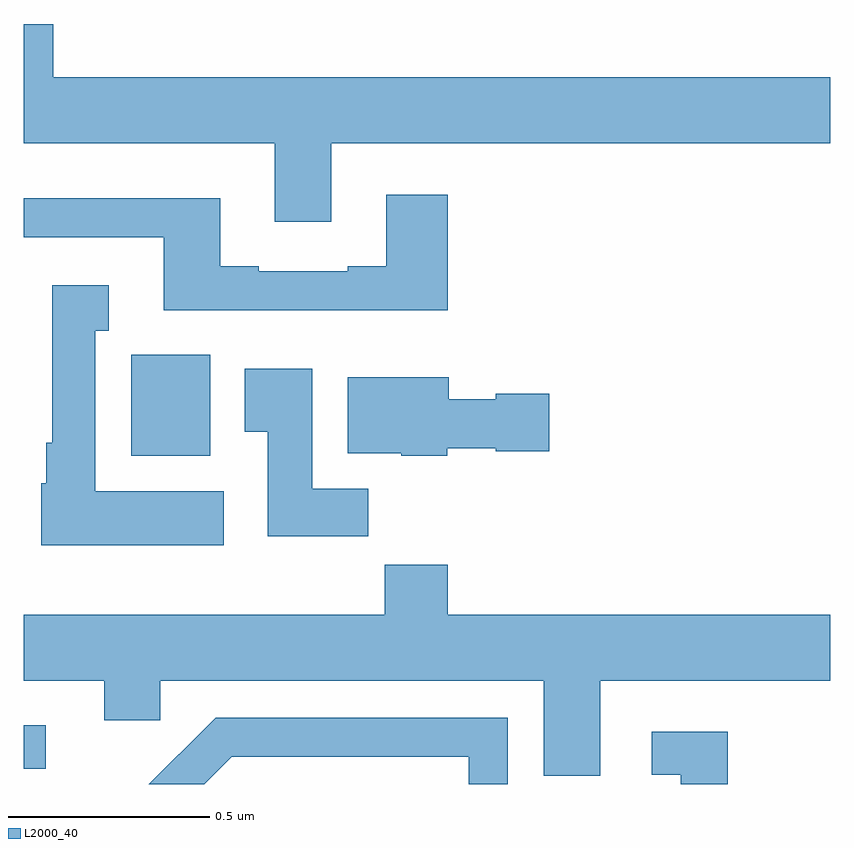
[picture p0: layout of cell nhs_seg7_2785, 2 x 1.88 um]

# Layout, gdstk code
import gdstk
lib = gdstk.Library(unit=1e-6, precision=1e-09)
def R(c, l, rs):  # rectangles x0, y0, x1, y1
    for r in rs: c.add(gdstk.rectangle(r[:2], r[2:], *l))
def P(c, l, *ps):  # polygons
    for p in ps: c.add(gdstk.Polygon(p, *l))
L2000_40 = (2000, 40)

nhs_seg7_2785 = lib.new_cell('nhs_seg7_2785')
R(nhs_seg7_2785, L2000_40, [(150,1027.038,150.055,1027.146), (150.267,1027.814,150.463,1028.064)])
P(nhs_seg7_2785, L2000_40, [(150.763,1028.588),(152,1028.588),(152,1028.752),(150.074,1028.752),(150.074,1028.884),(150,1028.884),(150,1028.588),(150.623,1028.588),(150.623,1028.394),(150.763,1028.394)],
  [(151.052,1028.461),(150.899,1028.461),(150.899,1028.284),(150.803,1028.284),(150.803,1028.271),(150.583,1028.271),(150.583,1028.284),(150.487,1028.284),(150.487,1028.452),(150,1028.452),(150,1028.355),(150.347,1028.355),(150.347,1028.174),(151.052,1028.174)],
  [(150.496,1027.726),(150.178,1027.726),(150.178,1028.123),(150.211,1028.123),(150.211,1028.236),(150.071,1028.236),(150.071,1027.846),(150.056,1027.846),(150.056,1027.746),(150.044,1027.746),(150.044,1027.592),(150.496,1027.592)],
  [(150.854,1027.732),(150.715,1027.732),(150.715,1028.029),(150.548,1028.029),(150.548,1027.873),(150.605,1027.873),(150.605,1027.614),(150.854,1027.614)],
  [(151.05,1027.832),(151.17,1027.832),(151.17,1027.825),(151.303,1027.825),(151.303,1027.967),(151.17,1027.967),(151.17,1027.954),(151.054,1027.954),(151.054,1028.008),(150.803,1028.008),(150.803,1027.82),(150.936,1027.82),(150.936,1027.814),(151.05,1027.814)],
  [(151.429,1027.256),(152,1027.256),(152,1027.42),(151.052,1027.42),(151.052,1027.544),(150.895,1027.544),(150.895,1027.42),(150,1027.42),(150,1027.256),(150.2,1027.256),(150.2,1027.158),(150.339,1027.158),(150.339,1027.256),(151.289,1027.256),(151.289,1027.021),(151.429,1027.021)],
  [(150.516,1027.068),(151.103,1027.068),(151.103,1027),(151.2,1027),(151.2,1027.164),(150.476,1027.164),(150.385,1027.073),(150.384,1027.074),(150.31,1027),(150.448,1027)],
  [(151.745,1027.129),(151.557,1027.129),(151.557,1027.023),(151.629,1027.023),(151.629,1027),(151.745,1027)])

lib.write_gds('nhs_seg7_2785.gds')
